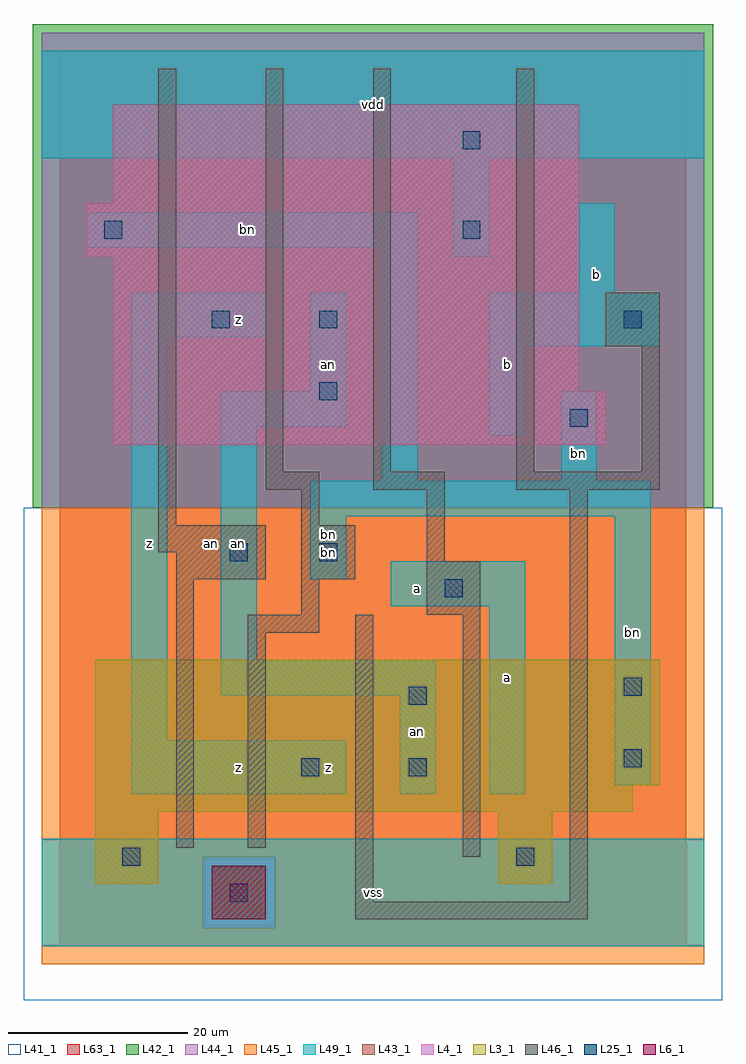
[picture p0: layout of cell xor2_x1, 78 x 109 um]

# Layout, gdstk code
import gdstk
lib = gdstk.Library(unit=1e-6, precision=1e-09)
def R(c, l, rs):  # rectangles x0, y0, x1, y1
    for r in rs: c.add(gdstk.rectangle(r[:2], r[2:], *l))
L3_1 = (3, 1)
L4_1 = (4, 1)
L6_1 = (6, 1)
L25_1 = (25, 1)
L41_1 = (41, 1)
L42_1 = (42, 1)
L43_1 = (43, 1)
L44_1 = (44, 1)
L45_1 = (45, 1)
L46_1 = (46, 1)
L49_1 = (49, 1)
L63_1 = (63, 1)

xor2_x1 = lib.new_cell('xor2_x1')
R(xor2_x1, L3_1, [(4,7,11,15), (49,7,55,15), (4,15,64,18), (4,18,67,32)])
R(xor2_x1, L4_1, [(6,56,61,62), (6,62,58,77), (3,77,58,83), (6,83,58,94)])
R(xor2_x1, L6_1, [(17,3,23,9)])
R(xor2_x1, L25_1, [(19,5,21,7), (7,9,9,11), (51,9,53,11), (27,19,29,21), (39,19,41,21), (63,20,65,22), (39,27,41,29), (63,28,65,30), (43,39,45,41), (19,43,21,45), (29,43,31,45), (57,58,59,60), (29,61,31,63), (17,69,19,71), (29,69,31,71), (63,69,65,71), (5,79,7,81), (45,79,47,81), (45,89,47,91)])
R(xor2_x1, L41_1, [(-4,-6,74,49), (-3,-3,73,49)])
R(xor2_x1, L42_1, [(-3,49,73,103)])
R(xor2_x1, L43_1, [(17,3,23,9), (4,7,11,15), (49,7,55,15), (4,15,64,18), (4,18,67,32), (6,56,61,62), (6,62,58,77), (3,77,58,83), (6,83,58,94)])
R(xor2_x1, L44_1, [(16,2,24,10), (-2,49,72,102)])
R(xor2_x1, L45_1, [(-2,-2,72,2), (-2,2,16,10), (24,2,72,10), (-2,10,72,49)])
R(xor2_x1, L46_1, [(33,3,59,5), (33,5,35,37), (57,5,59,51), (45,10,47,37), (13,11,15,41), (21,11,23,35), (21,35,29,37), (27,37,29,41), (41,37,47,43), (13,41,23,44), (27,41,33,47), (41,43,43,51), (11,44,23,47), (11,47,13,98), (27,47,29,51), (23,51,29,53), (35,51,43,53), (51,51,67,53), (23,53,25,98), (35,53,37,98), (51,53,53,98), (65,53,67,67), (61,67,67,73)])
R(xor2_x1, L49_1, [(-2,0,72,12), (8,17,32,23), (38,17,42,28), (48,17,52,38), (62,18,66,48), (8,23,12,68), (18,28,42,32), (18,32,22,58), (37,38,52,43), (28,41,32,48), (28,48,66,52), (36,52,40,78), (56,52,60,62), (48,57,52,67), (18,58,32,62), (28,62,32,73), (48,67,67,73), (8,68,23,73), (58,73,62,83), (44,77,48,88), (3,78,40,82), (-2,88,72,100)])
R(xor2_x1, L63_1, [(0,0,70,100)])
xor2_x1.add(gdstk.Label('an', (17,45), layer=46, texttype=1))
xor2_x1.add(gdstk.Label('bn', (30,44), layer=49, texttype=1))
xor2_x1.add(gdstk.Label('z', (10,45), layer=49, texttype=1))
xor2_x1.add(gdstk.Label('z', (10,45), layer=49, texttype=1))
xor2_x1.add(gdstk.Label('z', (20,20), layer=49, texttype=1))
xor2_x1.add(gdstk.Label('z', (20,20), layer=49, texttype=1))
xor2_x1.add(gdstk.Label('z', (30,20), layer=49, texttype=1))
xor2_x1.add(gdstk.Label('z', (30,20), layer=49, texttype=1))
xor2_x1.add(gdstk.Label('bn', (30,46), layer=49, texttype=1))
xor2_x1.add(gdstk.Label('an', (20,45), layer=49, texttype=1))
xor2_x1.add(gdstk.Label('z', (20,70), layer=49, texttype=1))
xor2_x1.add(gdstk.Label('z', (20,70), layer=49, texttype=1))
xor2_x1.add(gdstk.Label('an', (30,65), layer=49, texttype=1))
xor2_x1.add(gdstk.Label('vss', (35,6), layer=49, texttype=1))
xor2_x1.add(gdstk.Label('vss', (35,6), layer=49, texttype=1))
xor2_x1.add(gdstk.Label('an', (40,24), layer=49, texttype=1))
xor2_x1.add(gdstk.Label('a', (50,30), layer=49, texttype=1))
xor2_x1.add(gdstk.Label('a', (40,40), layer=49, texttype=1))
xor2_x1.add(gdstk.Label('a', (50,30), layer=49, texttype=1))
xor2_x1.add(gdstk.Label('a', (40,40), layer=49, texttype=1))
xor2_x1.add(gdstk.Label('b', (50,65), layer=49, texttype=1))
xor2_x1.add(gdstk.Label('b', (50,65), layer=49, texttype=1))
xor2_x1.add(gdstk.Label('vdd', (35,94), layer=49, texttype=1))
xor2_x1.add(gdstk.Label('vdd', (35,94), layer=49, texttype=1))
xor2_x1.add(gdstk.Label('bn', (21,80), layer=49, texttype=1))
xor2_x1.add(gdstk.Label('bn', (58,55), layer=49, texttype=1))
xor2_x1.add(gdstk.Label('bn', (64,35), layer=49, texttype=1))
xor2_x1.add(gdstk.Label('b', (60,75), layer=49, texttype=1))
xor2_x1.add(gdstk.Label('b', (60,75), layer=49, texttype=1))

lib.write_gds('xor2_x1.gds')
